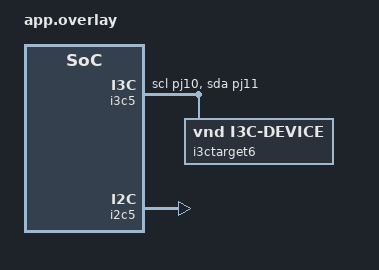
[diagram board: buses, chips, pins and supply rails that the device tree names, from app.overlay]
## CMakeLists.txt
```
# SPDX-License-Identifier: Apache-2.0

cmake_minimum_required(VERSION 3.20.0)

# cpu2 侧必须注入（find_package 之前）：
#   cpu2_console_uart5.overlay  - 控制台 uart5（PN14/PN13, 115200）
#   cpu2_mem_layout.overlay     - 内存布局（sram_ro/sram 地址与大小，统一管理）
set(EXTRA_DTC_OVERLAY_FILE
    ${CMAKE_CURRENT_SOURCE_DIR}/../../../common/cpu2_console_uart5.overlay;
    ${CMAKE_CURRENT_SOURCE_DIR}/../../../common/cpu2_mem_layout.overlay)

find_package(Zephyr REQUIRED HINTS $ENV{ZEPHYR_BASE})
project(cpu0_i3c_controller)

# 项目特定源文件
target_sources(app PRIVATE
    src/main.c
    src/i3c_i2c_controller_test.c)

# 项目特定include目录
target_include_directories(app PRIVATE
    ${CMAKE_CURRENT_SOURCE_DIR}/../tests/include)

# 包含公共源文件和配置（test_results.c, ztest_glue.c, gpio_toggle.c）
include(${CMAKE_CURRENT_SOURCE_DIR}/../../../common/common_sources.cmake)

# RLOG 单出口（SPEC_REFERENCE §6.9.3）：只在本工程编入 —— 其余工程没有
# `rlog_channel` 设备树节点，编进去会因 DT_NODELABEL 取不到而构建失败。
target_sources(app PRIVATE
    ${CMAKE_CURRENT_SOURCE_DIR}/../../../common/rlog.c)
```

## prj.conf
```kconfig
CONFIG_LOG=y
CONFIG_LOG_MODE_DEFERRED=y
CONFIG_LOG_BUFFER_SIZE=16384
CONFIG_LOG_PROCESS_THREAD_SLEEP_MS=10
CONFIG_LOG_BACKEND_UART=y
# printk 直通 console UART，不经 log 子系统（deferred+shell 后端会吞 printk）
CONFIG_LOG_PRINTK=n
CONFIG_SERIAL=y
CONFIG_SHELL=n
CONFIG_ZTEST=y
CONFIG_ZTEST_ASSERT_VERBOSE=1
# R7：n→y——逐项 START/PASS/FAIL 行是 parse_ztest 的数据源（§10.26）
CONFIG_ZTEST_VERBOSE_OUTPUT=y
CONFIG_ZTEST_SUMMARY=n
# 'P' 收尾通知已按 Task 8 审查 Critical 1 移到 zt_run_all() 后（test_main
# 线程，不经 ztest 测试线程）；测试体仅等快照（k_sleep+zassert），但 zassert
# 失败打印路径 + 断言宏展开栈深保守给 2048（样板 i3c_dualcore_test 无此项，
# 若回归无栈问题可再调小）
CONFIG_ZTEST_STACK_SIZE=2048
CONFIG_I3C=y
CONFIG_I3C_USE_IBI=y
CONFIG_I3C_IBI_MAX_PAYLOAD_SIZE=8
CONFIG_I3C_LOG_LEVEL_ERR=y
CONFIG_I2C=y
# RLOG 单出口（SPEC_REFERENCE §6.9.3）：主核收从核 token 行并原样打印
CONFIG_MBOX=y
# pinctrl_apply_state() 运行时切换 I3C/I2C 引脚复用（本工程核心机制）
CONFIG_PINCTRL_DYNAMIC=y
CONFIG_PICOLIBC=y
CONFIG_NEWLIB_LIBC=n
CONFIG_MINIMAL_LIBC=n

# GPIO support for PA05/PA07 toggle threads
CONFIG_GPIO=y
```

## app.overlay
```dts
/*
 * I3C/I2C 模块切换测试：controller（cpu2）侧总线配置。
 *
 * 被测对象：I3C5（i3c@40094000）与 i2c5（i2c@40084000）共用引脚
 * PJ10/PJ11，模式由引脚复用（pinctrl）区分：
 *   - "default"     状态 = I3C 引脚复用（i3c5_scl_pj10 / i3c5_sda_pj11）
 *   - "pinmux_i2c"  状态 = I2C 引脚复用（I2C5_scl_PJ10 / I2C5_sda_PJ11）
 * 运行时用 pinctrl_apply_state() 切换（CONFIG_PINCTRL_DYNAMIC）。
 *
 * 控制台串口（uart5, PN14/PN13）与内存布局由 810_driver_test 通用配置提供：
 *   ../common/cpu2_console_uart5.overlay + cpu2_mem_layout.overlay
 * 经 CMakeLists.txt 的 EXTRA_DTC_OVERLAY_FILE 引入。
 *
 * 注意：I2C5 引脚复用节点（I2C5_scl_PJ10 / I2C5_sda_PJ11，pinmux 0x819a/0x819b）
 * 由 soc dtsi（i2c 统一配置块）提供，本工程直接引用，不再自定义；
 * 而 lsqsh_pinctrl_fixed_pinmap.dtsi 中同功能小写节点（i2c5_scl_pj10）已被注释。
 */

/* i2c5 在 soc dtsi 中已有 pinctrl-0（default = I2C 引脚复用），若不置
 * pinctrl-noinit，i2c5 驱动 init 会把引脚切成 I2C 模式，破坏 i3c5 的
 * I3C 默认模式。引脚复用由 i3c5 节点的 pinctrl 双状态统一管理。 */

&i3c5_scl_pj10 {
    drive-strength = <2>;
    drive-push-pull;
    bias-pull-up6;
};

&i3c5_sda_pj11 {
    drive-strength = <2>;
    drive-push-pull;
    bias-pull-up6;
};

&i3c5 {
    status = "okay";
    i3c-scl-hz = <12500000>;
    // i2c-scl-hz = <1000000>;
    interrupts = <I3C5_IRQN 7>;

    tgt-pid = <0x5 0x55>;
    dcr = <0x4>;
    bcr = <0x42>;

    pinctrl-0 = <
        &i3c5_scl_pj10
        &i3c5_sda_pj11
    >;
    pinctrl-1 = <
        &I2C5_scl_PJ10
        &I2C5_sda_PJ11
    >;
    pinctrl-names = "default", "pinmux_i2c";

    i3ctarget6: i3ctarget@20813811000 {
        compatible = "vnd,i3c-device";
        reg = <0 0x0208 0x13811000>;
        assigned-address = <0x32>;
        status = "okay";
    };
};

/* i2c5 复用 I3C5 的引脚（PJ10/PJ11）：pinctrl-noinit 阻止 init 时 apply
 * soc 的 default 状态（I2C 引脚复用），引脚由 i3c5 节点双状态动态切换。
 * bus-frequency = 400K（I2C 模式波形速率，soc dtsi 未定义时默认 100K）。 */
&i2c5 {
    status = "okay";
    pinctrl-noinit;
    bus-frequency = <400000>;
};

/* GPIO toggle 仅 cpu1 使用：本核(cpu2)不编入
 * gpio_toggle.c，故不使能 gpioa（板级 dts 已 okay）。 */

/* RLOG 单出口通道（SPEC_REFERENCE §6.9.3）：本核（controller）收下 target 的
 * token 行并**原样**打印，两核 token 汇成一路串口流。`channel` 单元格 = 本节点
 * 在 `&mbox` 子节点中的枚举序（驱动按遍历序索引 FIFO，**以 zephyr.dts 为准**）：
 * 板级现有 5 个 consumer（0..4），本项目追加 ⇒ 5，必须与 target 侧一致。 */
&mbox {
	rlog_channel: rlog_channel {
		compatible = "vnd,mbox-consumer";
		mboxes = <&mbox 5 64 8 64 8>;
		mbox-names = "mbox";
	};
};
```

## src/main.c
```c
/*
 * Copyright (c) 2026 LinkedSemi
 *
 * SPDX-License-Identifier: Apache-2.0
 *
 * I3C/I2C 模块切换测试 —— cpu2 controller 侧。
 *
 * 被测对象：同一硬件模块（I3C5）在 I3C 与 I2C 两种模式间切换，模式由
 * 引脚复用（pinctrl）区分。本侧控制器以两个驱动视图存在：
 *   i3c5 = I3C controller（"default" 状态）
 *   i2c5 = I2C master（"pinmux_i2c" 状态，i3c5 节点的 pinctrl-1）
 * 切换 = pinctrl_apply_state()（CONFIG_PINCTRL_DYNAMIC）。
 *
 * 命令通道（与 target 的解析状态机对应）：
 *   I3C 模式：i3c_transfer 私有写（target 动态地址 0x32）
 *   I2C 模式：i2c_write（slave 地址 0x50）
 * 首字节为 opcode（ASCII 助记符），见 i3c_i2c_switch_test_protocol.h。
 */

#include "i3c_i2c_controller_test.h"
#include "i3c_i2c_switch_test_protocol.h"

#include <stdio.h>
#include <string.h>
#include <zephyr/kernel.h>
#include <zephyr/device.h>
#include <zephyr/drivers/i3c.h>
#include <zephyr/logging/log.h>

LOG_MODULE_REGISTER(i3c_i2c_master_test, LOG_LEVEL_INF);

const struct device *ctrl_i3c_dev = DEVICE_DT_GET(DT_NODELABEL(i3c5));
const struct device *ctrl_i2c_dev = DEVICE_DT_GET(DT_NODELABEL(i2c5));

int ctrl_i3c_write(struct i3c_device_desc *target, const uint8_t *buf, size_t len)
{
	struct i3c_msg msg = {
		.buf = (uint8_t *)buf,
		.len = len,
		.flags = I3C_MSG_WRITE | I3C_MSG_STOP,
		.hdr_mode = 0,
		.hdr_cmd_code = 0,
		.num_xfer = 0,
	};

	int ret = i3c_transfer(target, &msg, 1);

	return ret;
}

int ctrl_i3c_read(struct i3c_device_desc *target, uint8_t *buf, size_t len)
{
	struct i3c_msg msg = {
		.buf = buf,
		.len = len,
		.flags = I3C_MSG_READ | I3C_MSG_STOP,
		.hdr_mode = 0,
		.hdr_cmd_code = 0,
		.num_xfer = 0,
	};

	int ret = i3c_transfer(target, &msg, 1);

	return ret;
}

struct i3c_device_desc *ctrl_wait_for_target(void)
{
	struct i3c_device_desc *target = NULL;

	for (int attempt = 0; attempt < 30; attempt++) {
		target = i3c_dev_list_i3c_addr_find(ctrl_i3c_dev, I3C_SWITCH_TARGET_ADDR);
		if (target != NULL) {
			return target;
		}
		LOG_INF("Target 0x%02X not found, retry DAA (attempt %d)",
			I3C_SWITCH_TARGET_ADDR, attempt + 1);
		int ret = i3c_do_daa(ctrl_i3c_dev);

		if (ret != 0) {
			LOG_INF("i3c_do_daa failed: %d", ret);
		}
		k_sleep(K_MSEC(20));
	}

	return NULL;
}
```

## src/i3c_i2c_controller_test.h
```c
/*
 * Copyright (c) 2026 LinkedSemi
 *
 * SPDX-License-Identifier: Apache-2.0
 */

#ifndef I3C_I2C_CONTROLLER_TEST_H
#define I3C_I2C_CONTROLLER_TEST_H

#include <stdint.h>
#include <stddef.h>
#include <zephyr/device.h>
#include <zephyr/drivers/i3c.h>

#ifdef __cplusplus
extern "C" {
#endif

/* i3c5：I3C controller（I3C 模式）；i2c5：I2C master（I2C 模式，同一模块两个驱动视图） */
extern const struct device *ctrl_i3c_dev;
extern const struct device *ctrl_i2c_dev;

/* 查找/分配 target 动态地址（30 次重试 DAA），失败返回 NULL */
struct i3c_device_desc *ctrl_wait_for_target(void);

/* I3C 私有传输辅助（带 STOP；I3C 模式命令通道） */
int ctrl_i3c_write(struct i3c_device_desc *target, const uint8_t *buf, size_t len);
int ctrl_i3c_read(struct i3c_device_desc *target, uint8_t *buf, size_t len);

#ifdef __cplusplus
}
#endif

#endif /* I3C_I2C_CONTROLLER_TEST_H */
```
